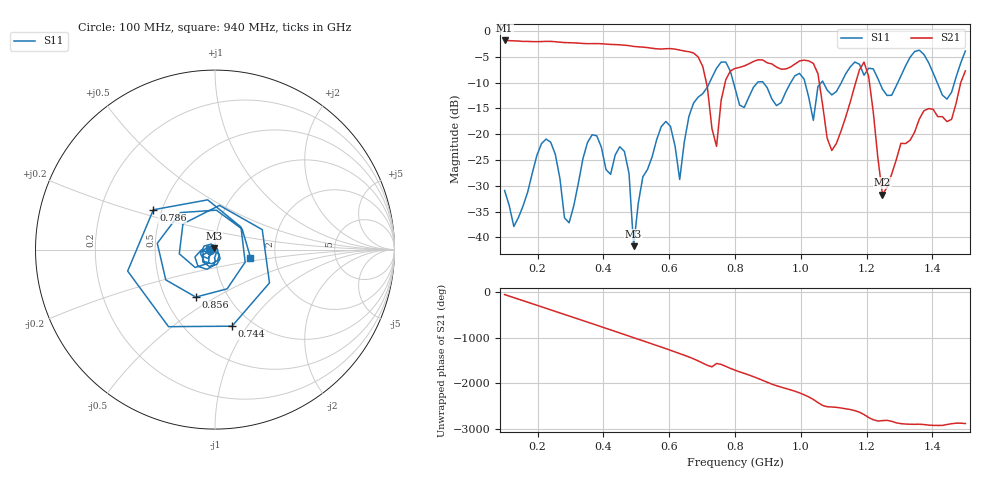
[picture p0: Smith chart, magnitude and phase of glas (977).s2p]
! NanoVNA-App
! Date: 2025-09-25 16:03:04
! Start: 100MHz Stop: 1,5GHz Points: 101
! S-Parameter data: F S11 S21 S12 S22
# Hz S RI R 50
!  Frequency  S11_Real  S11_Imag  S21_Real  S21_Imag  S12_Real  S12_Imag  S22_Real  S22_Imag
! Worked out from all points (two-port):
!   101 points, 100 MHz to 1.5 GHz, reference 50 ohm
!   highest |S21| = -1.80 dB at 100 MHz (marker M1); lowest = -31.7 dB at 1.248 GHz (marker M2)
!   |S21| within 3 dB of the highest: start of sweep to 684.4 MHz
!   lowest |S11| = -41.7 dB at 492 MHz (marker M3), VSWR 1.02, Z = 49.5 + j0.636 ohm
!   |S11| at or under -10 dB: start of sweep to 722.5 MHz; 795.5 MHz to 867.9 MHz (72.4 MHz wide, 8.71 % of centre); 886.3 MHz to 969.1 MHz (82.8 MHz wide, 8.92 % of centre) (the widest 3 of 7)
!   S12 and S22 are empty: the file has one direction only
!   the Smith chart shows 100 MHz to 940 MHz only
!   S11 on the Smith chart (normalised r, x): 100 MHz: 0.94, -0.01; 744 MHz: 0.81, -0.85; 786 MHz: 0.45, +0.24; 856 MHz: 0.71, -0.41; 940 MHz: 1.49, -0.14
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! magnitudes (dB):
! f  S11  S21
! 100 MHz  -30.9  -1.8
! 128 MHz  -37.9  -1.9
! 226 MHz  -20.9  -2.0
! 296 MHz  -37.2  -2.2
! 338 MHz  -24.7  -2.4
! 464 MHz  -23.3  -2.7
! 492 MHz  -41.7  -3.0
! 576 MHz  -18.5  -3.5
! 632 MHz  -28.8  -3.7
! 702 MHz  -12.1  -6.8
! 744 MHz  -7.2  -22.4
! 786 MHz  -7.8  -7.7
! 800 MHz  -11.1  -7.2
! 856 MHz  -10.9  -5.9
! 940 MHz  -13.9  -7.4
! 996 MHz  -8.2  -5.8
! 1.038 GHz  -17.3  -6.2
! 1.094 GHz  -12.4  -23.2
! 1.192 GHz  -8.5  -6.0
! 1.248 GHz  -11.2  -31.7
! 1.276 GHz  -12.4  -27.7
! 1.5 GHz  -3.8  -7.7
